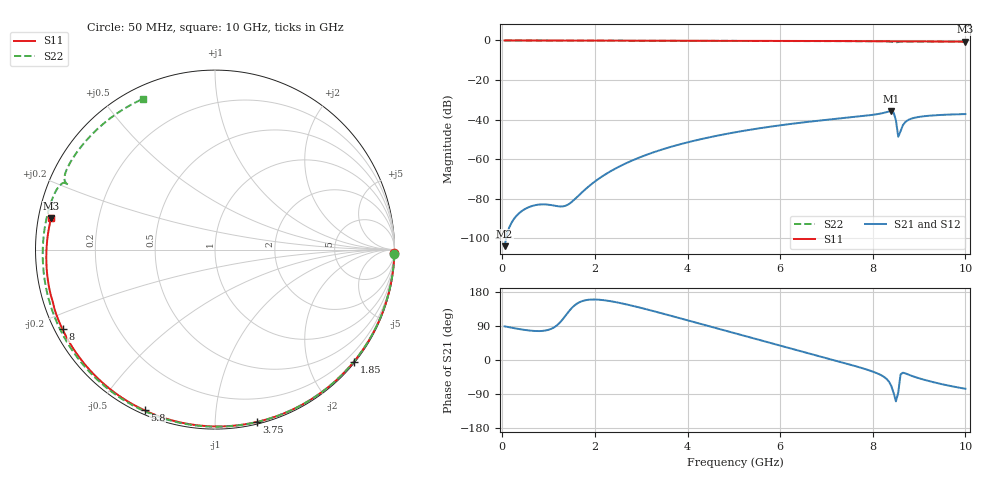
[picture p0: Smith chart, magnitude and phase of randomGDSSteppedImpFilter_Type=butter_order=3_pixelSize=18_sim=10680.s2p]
! freq	dB(S11)	phase(S11)	dB(S12)	phase(S12)
!  dB(S21)	phase(S21)	dB(S22)	phase(S22)
!S-par simulation data
#  GHz  S  DB  R 50
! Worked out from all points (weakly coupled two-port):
!   200 points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, 50 MHz to 10 GHz, reference 50 ohm
!   highest |S21| = -35.71 dB at 8.4 GHz (marker M1); lowest = -104.0 dB at 50 MHz (marker M2)
!   lowest |S11| = -0.6 dB at 10 GHz (marker M3), VSWR 27.52, Z = 1.83 + j4.7 ohm
!   |S11| at or under -10 dB: nowhere
!   |S22| runs from -1.0 to 0.0 dB; largest |S21 - S12| = 0
!   S11 on the Smith chart (normalised r, x): 50 MHz: open; 1.85 GHz: 0.03, -2.83; 3.75 GHz: 0.02, -1.27; 5.8 GHz: 0.02, -0.65; 8 GHz: 0.02, -0.25; 10 GHz: 0.04, +0.09
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0.05  -0.00 -1.1  -104.00 88.8  -104.00 88.8  -0.00 -1.4
0.75  -0.02 -16.0  -83.11 76.3  -83.11 76.3  -0.03 -21.1
1.55  -0.04 -32.7  -80.59 143.0  -80.59 143.0  -0.05 -43.1
1.75  -0.05 -36.8  -76.17 156.3  -76.17 156.3  -0.06 -48.5
1.85  -0.05 -38.9  -74.10 158.8  -74.10 158.8  -0.06 -51.1
2.5  -0.07 -52.0  -64.06 151.5  -64.06 151.5  -0.09 -68.0
3.4  -0.09 -69.7  -55.50 124.6  -55.50 124.6  -0.12 -90.1
3.75  -0.10 -76.4  -53.06 113.1  -53.06 113.1  -0.13 -98.4
5.05  -0.15 -100.3  -46.33 69.7  -46.33 69.7  -0.19 -127.7
5.8  -0.19 -113.7  -43.54 44.7  -43.54 44.7  -0.23 -143.9
6.7  -0.25 -129.5  -40.89 15.0  -40.89 15.0  -0.29 -163.4
8  -0.37 -152.4  -37.59 -30.6  -37.59 -30.6  -0.42 167.2
8.35  -0.41 -158.8  -35.91 -57.2  -35.91 -57.2  -0.55 158.0
8.4  -0.42 -159.7  -35.71 -68.3  -35.71 -68.3  -0.65 156.5
8.45  -0.43 -160.6  -36.37 -86.9  -36.37 -86.9  -0.84 155.5
8.5  -0.45 -161.5  -40.41 -109.2  -40.41 -109.2  -0.96 156.1
8.55  -0.45 -162.3  -48.69 -86.1  -48.69 -86.1  -0.80 156.1
8.65  -0.45 -164.1  -42.84 -33.5  -42.84 -33.5  -0.58 153.4
8.75  -0.46 -166.0  -40.42 -37.6  -40.42 -37.6  -0.54 150.5
8.85  -0.47 -167.9  -39.41 -42.3  -39.41 -42.3  -0.52 147.8
9.25  -0.52 -175.5  -37.99 -56.7  -37.99 -56.7  -0.54 137.0
10  -0.63 169.2  -37.22 -75.8  -37.22 -75.8  -0.62 115.6
